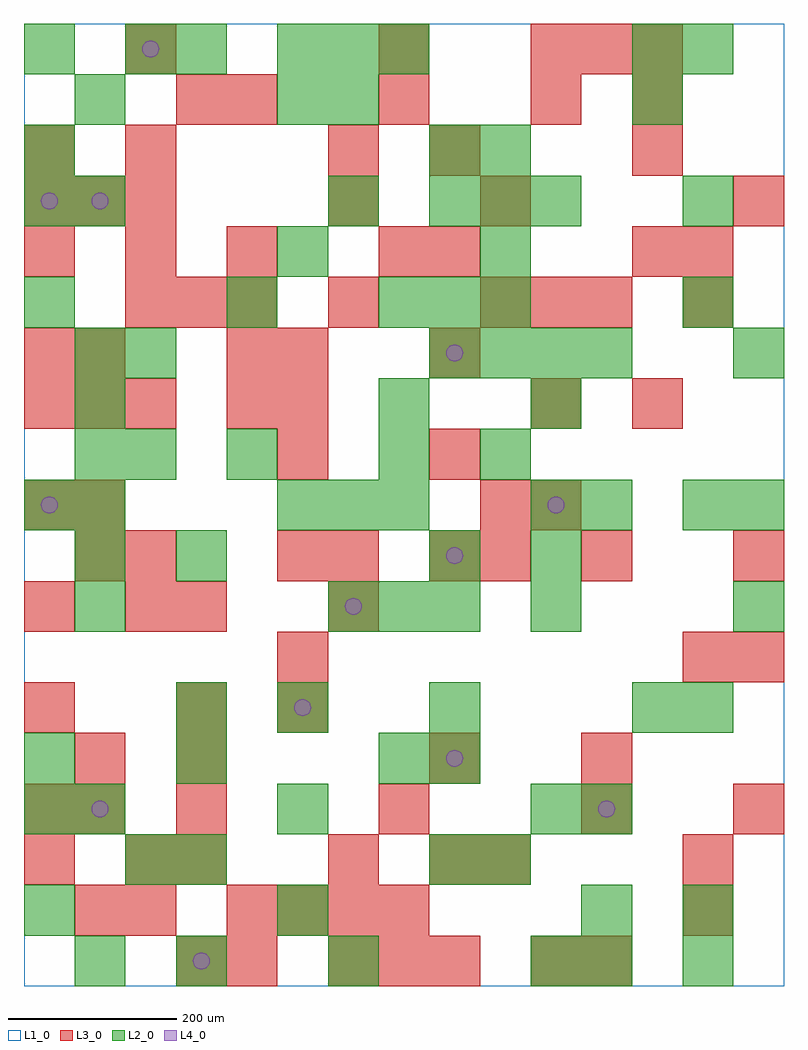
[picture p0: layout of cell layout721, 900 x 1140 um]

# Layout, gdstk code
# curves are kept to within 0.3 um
import gdstk
lib = gdstk.Library(unit=1e-6, precision=1e-09)
def R(c, l, rs):  # rectangles x0, y0, x1, y1
    for r in rs: c.add(gdstk.rectangle(r[:2], r[2:], *l))
def A(c, l, x, y, w, h, nx, ny, dx, dy):  # array of equal rectangles
    R(c, l, [(x+i*dx, y+j*dy, x+i*dx+w, y+j*dy+h) for i in range(nx) for j in range(ny)])
def P(c, l, *ps):  # polygons
    for p in ps: c.add(gdstk.Polygon(p, *l))
L1_0 = (1, 0)
L2_0 = (2, 0)
L3_0 = (3, 0)
L4_0 = (4, 0)

layout721 = lib.new_cell('layout721')
R(layout721, L1_0, [(0,0,900,1140)])
A(layout721, L2_0, 180, 0, 60, 60, 1, 3, 0, 120)
A(layout721, L2_0, 300, 60, 60, 60, 1, 3, 0, 120)
A(layout721, L2_0, 780, 60, 60, 60, 1, 4, 0, 240)
A(layout721, L2_0, 60, 420, 60, 60, 1, 6, 0, 60)
A(layout721, L2_0, 360, 420, 60, 60, 3, 1, 60, 0)
A(layout721, L2_0, 600, 420, 60, 60, 1, 3, 0, 60)
A(layout721, L2_0, 300, 540, 60, 60, 3, 2, 60, 540)
A(layout721, L2_0, 480, 720, 60, 60, 4, 1, 60, 0)
A(layout721, L2_0, 420, 780, 60, 60, 3, 1, 60, 0)
A(layout721, L2_0, 480, 900, 60, 60, 3, 1, 60, 0)
R(layout721, L2_0, [(60,0,120,60), (360,0,420,60), (600,0,660,60), (660,0,720,60), (780,0,840,60), (0,60,60,120), (660,60,720,120), (120,120,180,180), (480,120,540,180), (540,120,600,180), (0,180,60,240), (60,180,120,240), (600,180,660,240), (660,180,720,240), (0,240,60,300), (420,240,480,300), (480,240,540,300), (180,300,240,360), (480,300,540,360), (720,300,780,360), (840,420,900,480), (180,480,240,540), (480,480,540,540), (0,540,60,600), (660,540,720,600), (840,540,900,600), (120,600,180,660), (240,600,300,660), (420,600,480,660), (540,600,600,660), (420,660,480,720), (600,660,660,720), (120,720,180,780), (840,720,900,780), (0,780,60,840), (240,780,300,840), (300,840,360,900), (540,840,600,900), (0,900,60,960), (60,900,120,960), (360,900,420,960), (780,900,840,960), (0,960,60,1020), (480,960,540,1020), (540,960,600,1020), (60,1020,120,1080), (300,1020,360,1080), (360,1020,420,1080), (720,1020,780,1080), (0,1080,60,1140), (120,1080,180,1140), (180,1080,240,1140), (720,1080,780,1140), (780,1080,840,1140)])
A(layout721, L3_0, 180, 0, 60, 60, 1, 3, 0, 120)
A(layout721, L3_0, 360, 0, 60, 60, 3, 1, 60, 0)
A(layout721, L3_0, 660, 0, 60, 60, 1, 3, 0, 240)
A(layout721, L3_0, 240, 60, 60, 60, 4, 1, 60, 0)
A(layout721, L3_0, 0, 180, 60, 60, 1, 4, 0, 120)
A(layout721, L3_0, 180, 180, 60, 60, 3, 1, 240, 0)
A(layout721, L3_0, 300, 360, 60, 60, 1, 3, 0, 120)
A(layout721, L3_0, 480, 480, 60, 60, 1, 5, 0, 120)
A(layout721, L3_0, 0, 660, 60, 60, 3, 2, 60, 240)
A(layout721, L3_0, 120, 780, 60, 60, 3, 1, 60, 0)
A(layout721, L3_0, 540, 780, 60, 60, 3, 1, 60, 0)
A(layout721, L3_0, 0, 840, 60, 60, 3, 1, 120, 0)
A(layout721, L3_0, 240, 1020, 60, 60, 3, 1, 180, 0)
A(layout721, L3_0, 600, 1080, 60, 60, 3, 1, 60, 0)
R(layout721, L3_0, [(240,0,300,60), (600,0,660,60), (60,60,120,120), (120,60,180,120), (780,60,840,120), (0,120,60,180), (120,120,180,180), (360,120,420,180), (480,120,540,180), (540,120,600,180), (780,120,840,180), (60,180,120,240), (840,180,900,240), (60,240,120,300), (480,240,540,300), (180,300,240,360), (300,300,360,360), (780,360,840,420), (840,360,900,420), (120,420,180,480), (180,420,240,480), (360,420,420,480), (60,480,120,540), (120,480,180,540), (360,480,420,540), (540,480,600,540), (840,480,900,540), (60,540,120,600), (540,540,600,600), (600,540,660,600), (240,660,300,720), (300,660,360,720), (600,660,660,720), (720,660,780,720), (0,720,60,780), (60,720,120,780), (240,720,300,780), (300,720,360,780), (360,780,420,840), (780,780,840,840), (420,840,480,900), (720,840,780,900), (780,840,840,900), (360,900,420,960), (540,900,600,960), (840,900,900,960), (0,960,60,1020), (120,960,180,1020), (360,960,420,1020), (720,960,780,1020), (180,1020,240,1080), (720,1020,780,1080), (120,1080,180,1140), (420,1080,480,1140)])
P(layout721, L4_0, [(40,570),(39.239,573.827),(37.071,577.071),(33.827,579.239),(30,580),(26.173,579.239),(22.929,577.071),(20.761,573.827),(20,570),(20.761,566.173),(22.929,562.929),(26.173,560.761),(30,560),(33.827,560.761),(37.071,562.929),(39.239,566.173)],
  [(40,930),(39.239,933.827),(37.071,937.071),(33.827,939.239),(30,940),(26.173,939.239),(22.929,937.071),(20.761,933.827),(20,930),(20.761,926.173),(22.929,922.929),(26.173,920.761),(30,920),(33.827,920.761),(37.071,922.929),(39.239,926.173)],
  [(100,210),(99.239,213.827),(97.071,217.071),(93.827,219.239),(90,220),(86.173,219.239),(82.929,217.071),(80.761,213.827),(80,210),(80.761,206.173),(82.929,202.929),(86.173,200.761),(90,200),(93.827,200.761),(97.071,202.929),(99.239,206.173)],
  [(100,930),(99.239,933.827),(97.071,937.071),(93.827,939.239),(90,940),(86.173,939.239),(82.929,937.071),(80.761,933.827),(80,930),(80.761,926.173),(82.929,922.929),(86.173,920.761),(90,920),(93.827,920.761),(97.071,922.929),(99.239,926.173)],
  [(160,1110),(159.239,1113.827),(157.071,1117.071),(153.827,1119.239),(150,1120),(146.173,1119.239),(142.929,1117.071),(140.761,1113.827),(140,1110),(140.761,1106.173),(142.929,1102.929),(146.173,1100.761),(150,1100),(153.827,1100.761),(157.071,1102.929),(159.239,1106.173)],
  [(220,30),(219.239,33.827),(217.071,37.071),(213.827,39.239),(210,40),(206.173,39.239),(202.929,37.071),(200.761,33.827),(200,30),(200.761,26.173),(202.929,22.929),(206.173,20.761),(210,20),(213.827,20.761),(217.071,22.929),(219.239,26.173)],
  [(340,330),(339.239,333.827),(337.071,337.071),(333.827,339.239),(330,340),(326.173,339.239),(322.929,337.071),(320.761,333.827),(320,330),(320.761,326.173),(322.929,322.929),(326.173,320.761),(330,320),(333.827,320.761),(337.071,322.929),(339.239,326.173)],
  [(400,450),(399.239,453.827),(397.071,457.071),(393.827,459.239),(390,460),(386.173,459.239),(382.929,457.071),(380.761,453.827),(380,450),(380.761,446.173),(382.929,442.929),(386.173,440.761),(390,440),(393.827,440.761),(397.071,442.929),(399.239,446.173)],
  [(520,270),(519.239,273.827),(517.071,277.071),(513.827,279.239),(510,280),(506.173,279.239),(502.929,277.071),(500.761,273.827),(500,270),(500.761,266.173),(502.929,262.929),(506.173,260.761),(510,260),(513.827,260.761),(517.071,262.929),(519.239,266.173)],
  [(520,510),(519.239,513.827),(517.071,517.071),(513.827,519.239),(510,520),(506.173,519.239),(502.929,517.071),(500.761,513.827),(500,510),(500.761,506.173),(502.929,502.929),(506.173,500.761),(510,500),(513.827,500.761),(517.071,502.929),(519.239,506.173)],
  [(520,750),(519.239,753.827),(517.071,757.071),(513.827,759.239),(510,760),(506.173,759.239),(502.929,757.071),(500.761,753.827),(500,750),(500.761,746.173),(502.929,742.929),(506.173,740.761),(510,740),(513.827,740.761),(517.071,742.929),(519.239,746.173)],
  [(640,570),(639.239,573.827),(637.071,577.071),(633.827,579.239),(630,580),(626.173,579.239),(622.929,577.071),(620.761,573.827),(620,570),(620.761,566.173),(622.929,562.929),(626.173,560.761),(630,560),(633.827,560.761),(637.071,562.929),(639.239,566.173)],
  [(700,210),(699.239,213.827),(697.071,217.071),(693.827,219.239),(690,220),(686.173,219.239),(682.929,217.071),(680.761,213.827),(680,210),(680.761,206.173),(682.929,202.929),(686.173,200.761),(690,200),(693.827,200.761),(697.071,202.929),(699.239,206.173)])

lib.write_gds('layout721.gds')
